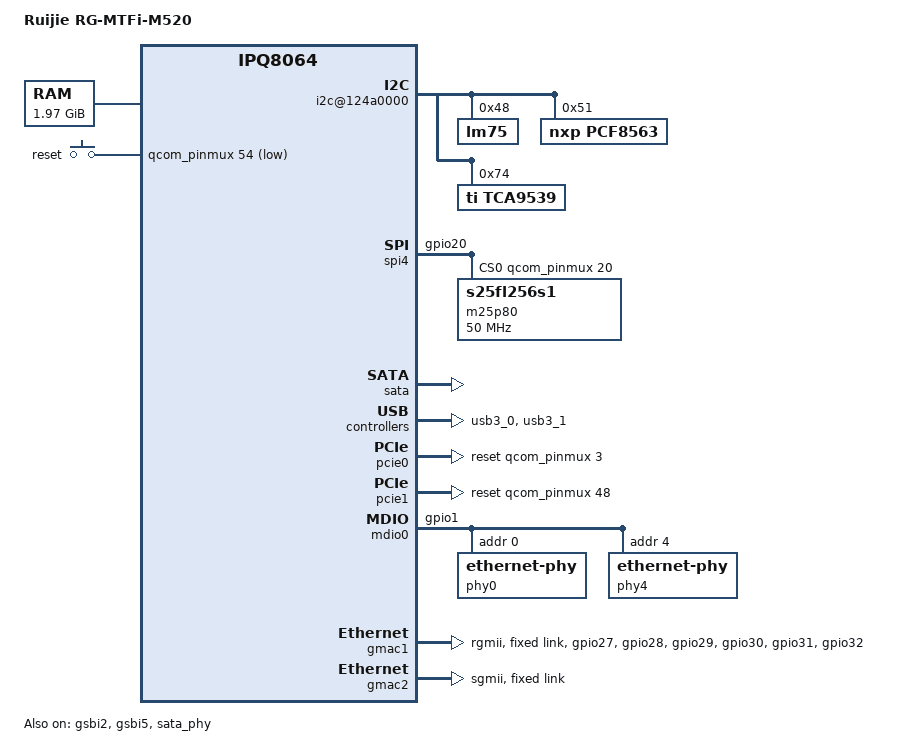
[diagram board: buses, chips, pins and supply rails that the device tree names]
// SPDX-License-Identifier: GPL-2.0-or-later OR MIT

#include "qcom-ipq8064-v2.0.dtsi"

#include <dt-bindings/input/input.h>

/ {
	model = "Ruijie RG-MTFi-M520";
	compatible = "ruijie,rg-mtfi-m520", "qcom,ipq8064";

	memory@0 {
		reg = <0x42000000 0x7e000000>;
		device_type = "memory";
	};

	aliases {
		mdio-gpio0 = &mdio0;
		sdcc1 = &sdcc1;
	};

	chosen {
		bootargs = "root=/dev/mmcblk0p3 rootfstype=squashfs,ext4 rootwait noinitrd";
	};

	keys {
		compatible = "gpio-keys";
		pinctrl-0 = <&button_pins>;
		pinctrl-names = "default";

		reset {
			label = "reset";
			gpios = <&qcom_pinmux 54 GPIO_ACTIVE_LOW>;
			linux,code = <KEY_RESTART>;
		};
	};
};

&qcom_pinmux {
	button_pins: button_pins {
		mux {
			pins = "gpio54";
			function = "gpio";
			drive-strength = <2>;
			bias-pull-up;
		};
	};

	led_pins: led_pins {
		mux {
			pins = "gpio7", "gpio8", "gpio9", "gpio53";
			function = "gpio";
			drive-strength = <2>;
			bias-pull-down;
		};
	};

	mdio0_pins: mdio0_pins {
		clk {
			pins = "gpio1";
			input-disable;
		};
	};

	rgmii2_pins: rgmii2_pins {
		tx {
			pins = "gpio27", "gpio28", "gpio29", "gpio30", "gpio31", "gpio32";
			input-disable;
		};
	};

	sdcc1_pins: sdcc1_pinmux {
		mux {
			pins =	"gpio38", "gpio39", "gpio40", "gpio41", "gpio42",
				"gpio43", "gpio44", "gpio45", "gpio46", "gpio47";
			function = "sdc1";
		};

		cmd {
			pins = "gpio45";
			drive-strength = <10>;
			bias-pull-up;
		};

		data {
			pins =	"gpio38", "gpio39", "gpio40", "gpio41",
				"gpio43", "gpio44", "gpio46", "gpio47";
			drive-strength = <10>;
			bias-pull-up;
		};

		clk {
			pins = "gpio42";
			drive-strength = <16>;
			bias-disable;
		};
	};

	spi_pins: spi_pins {
		cs {
			pins = "gpio20";
			drive-strength = <12>;
		};
	};
};

&gsbi2 {
	qcom,mode = <GSBI_PROT_I2C_UART>;
	status = "okay";

	i2c@124a0000 {
		status = "okay";

		lm75@48 {
			status = "okay";
			compatible = "lm75";
			reg = <0x48>;
		};

		pcf8563: rtc@51 {
			status = "okay";
			compatible = "nxp,pcf8563";
			reg = <0x51>;
		};

		tca9539@74 {
			status = "okay";
			compatible = "ti,tca9539";
			reg = <0x74>;
		};
	};
};

&gsbi5 {
	qcom,mode = <GSBI_PROT_SPI>;
	status = "okay";

	spi4: spi@1a280000 {
		status = "okay";

		pinctrl-0 = <&spi_pins>;
		pinctrl-names = "default";

		cs-gpios = <&qcom_pinmux 20 GPIO_ACTIVE_HIGH>;

		m25p80@0 {
			compatible = "s25fl256s1";
			#address-cells = <1>;
			#size-cells = <1>;
			spi-max-frequency = <50000000>;
			reg = <0>;

			SBL1@0 {
				label = "SBL1";
				reg = <0x0 0x10000>;
				read-only;
			};

			MIBIB@10000 {
				label = "MIBIB";
				reg = <0x10000 0x10000>;
				read-only;
			};

			SBL2@20000 {
				label = "SBL2";
				reg = <0x20000 0x20000>;
				read-only;
			};

			SBL3@40000 {
				label = "SBL3";
				reg = <0x40000 0x30000>;
				read-only;
			};

			DDRCONFIG@70000 {
				label = "DDRCONFIG";
				reg = <0x70000 0x10000>;
				read-only;
			};

			PRODUCTINFO@80000 {
				label = "PRODUCTINFO";
				reg = <0x80000 0x10000>;
				read-only;
			};

			TZ@90000 {
				label = "TZ";
				reg = <0x90000 0x30000>;
				read-only;
			};

			RPM@c0000 {
				label = "RPM";
				reg = <0xc0000 0x20000>;
				read-only;
			};

			APPSBL@e0000 {
				label = "APPSBL";
				reg = <0xe0000 0x80000>;
				read-only;
			};

			APPSBLENV@160000 {
				label = "APPSBLENV";
				reg = <0x160000 0x10000>;
				read-only;
			};

			BOOTCONFIG@170000 {
				label = "BOOTCONFIG";
				reg = <0x170000 0x10000>;
				read-only;
			};

			ART@180000 {
				label = "ART";
				reg = <0x180000 0x40000>;
				read-only;
			};
		};
	};
};

&sata_phy {
	status = "okay";
};

&sata {
	status = "okay";
};

&usb3_0 {
	status = "okay";
};

&usb3_1 {
	status = "okay";
};

&pcie0 {
	status = "okay";
	reset-gpio = <&qcom_pinmux 3 GPIO_ACTIVE_HIGH>;
	pinctrl-0 = <&pcie0_pins>;
	pinctrl-names = "default";
};

&pcie1 {
	status = "okay";
	reset-gpio = <&qcom_pinmux 48 GPIO_ACTIVE_HIGH>;
	pinctrl-0 = <&pcie1_pins>;
	pinctrl-names = "default";
	max-link-speed = <1>;
};

&mdio0 {
	status = "okay";

	pinctrl-0 = <&mdio0_pins>;
	pinctrl-names = "default";

	phy0: ethernet-phy@0 {
		reg = <0>;
		qca,ar8327-initvals = <
			0x00004 0x7600000   /* PAD0_MODE */
			0x00008 0x1000000   /* PAD5_MODE */
			0x0000c 0x80        /* PAD6_MODE */
			0x000e4 0x6a545     /* MAC_POWER_SEL */
			0x000e0 0xc74164de  /* SGMII_CTRL */
			0x0007c 0x4e        /* PORT0_STATUS */
			0x00094 0x4e        /* PORT6_STATUS */
			>;
	};

	phy4: ethernet-phy@4 {
		reg = <4>;
	};
};

&gmac1 {
	status = "okay";
	phy-mode = "rgmii";
	qcom,id = <1>;

	pinctrl-0 = <&rgmii2_pins>;
	pinctrl-names = "default";

	fixed-link {
		speed = <1000>;
		full-duplex;
	};
};

&gmac2 {
	status = "okay";
	phy-mode = "sgmii";
	qcom,id = <2>;

	fixed-link {
		speed = <1000>;
		full-duplex;
	};
};

&amba {
	sdcc1: sdcc@12400000 {
		status = "okay";
		pinctrl-0 = <&sdcc1_pins>;
		pinctrl-names = "default";
	};
};

&adm_dma {
	status = "okay";
};

&CPU_SPC {
	status = "disabled";
};
